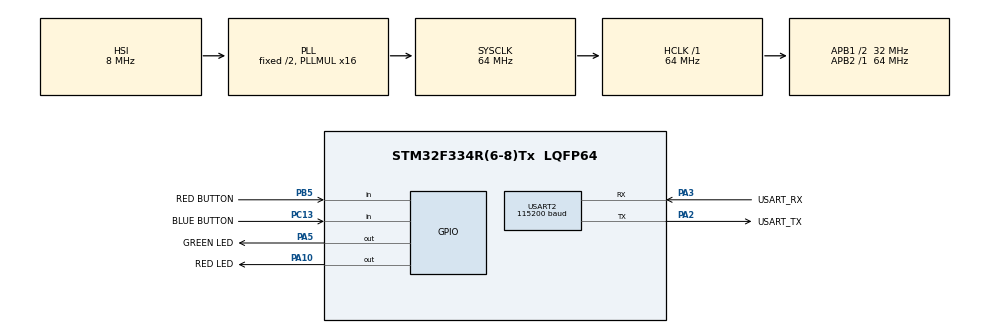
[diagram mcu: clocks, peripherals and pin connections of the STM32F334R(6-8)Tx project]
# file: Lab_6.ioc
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Mcu.Family=STM32F3
Mcu.Name=STM32F334R(6-8)Tx
Mcu.Package=LQFP64
NVIC.PriorityGroup=NVIC_PRIORITYGROUP_0
PA10.GPIO_Label=RED LED
PA10.GPIO_ModeDefaultOutputPP=GPIO_MODE_OUTPUT_OD
PA10.GPIO_PuPd=GPIO_NOPULL
PA10.Signal=GPIO_Output
PA13.GPIO_Label=TMS
PA13.Mode=Serial_Wire
PA13.Signal=SYS_JTMS-SWDIO
PA14.GPIO_Label=TCK
PA14.Mode=Serial_Wire
PA14.Signal=SYS_JTCK-SWCLK
PA2.GPIO_Label=USART_TX
PA2.Mode=Asynchronous
PA2.Signal=USART2_TX
PA3.GPIO_Label=USART_RX
PA3.Mode=Asynchronous
PA3.Signal=USART2_RX
PA5.GPIO_Label=GREEN LED
PA5.Signal=GPIO_Output
PB3.GPIO_Label=SWO
PB3.Signal=SYS_JTDO-TRACESWO
PB5.GPIO_Label=RED BUTTON
PB5.GPIO_PuPd=GPIO_PULLUP
PB5.Signal=GPIO_Input
PC13.GPIO_Label=BLUE BUTTON
PC13.Signal=GPIO_Input
PC14\ /\ OSC32_IN.Mode=LSE-External-Oscillator
PC14\ /\ OSC32_IN.Signal=RCC_OSC32_IN
PC15\ /\ OSC32_OUT.GPIO_Label=RCC_OSC32_OUT
PC15\ /\ OSC32_OUT.Mode=LSE-External-Oscillator
PC15\ /\ OSC32_OUT.Signal=RCC_OSC32_OUT
PF0\ /\ OSC_IN.Mode=HSE-External-Clock-Source
PF0\ /\ OSC_IN.Signal=RCC_OSC_IN
PF1\ /\ OSC_OUT.Signal=RCC_OSC_OUT
ProjectManager.HeapSize=0x200
ProjectManager.StackSize=0x400
ProjectManager.TargetToolchain=STM32CubeIDE
RCC.AHBFreq_Value=64000000
RCC.APB1CLKDivider=RCC_HCLK_DIV2
RCC.APB1Freq_Value=32000000
RCC.APB1TimFreq_Value=64000000
RCC.APB2Freq_Value=64000000
RCC.APB2TimFreq_Value=64000000
RCC.CortexFreq_Value=64000000
RCC.FLatency-AdvancedSettings=FLASH_LATENCY_2
RCC.HCLKFreq_Value=64000000
RCC.HSE_VALUE=8000000
RCC.HSI_VALUE=8000000
RCC.PLLMUL=RCC_PLL_MUL16
RCC.SYSCLKFreq_VALUE=64000000
RCC.SYSCLKSourceVirtual=RCC_SYSCLKSOURCE_PLLCLK
USART2.BaudRate=115200
USART2.VirtualMode-Asynchronous=VM_ASYNC
board=NUCLEO-F334R8

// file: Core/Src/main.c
/* USER CODE BEGIN Header */
/**
  ******************************************************************************
  * @file           : main.c
  * @brief          : Main program body
  ******************************************************************************
  * @attention
  *
  * Copyright (c) 2025 STMicroelectronics.
  * All rights reserved.
  *
  * This software is licensed under terms that can be found in the LICENSE file
  * in the root directory of this software component.
  * If no LICENSE file comes with this software, it is provided AS-IS.
  *
  ******************************************************************************
  */
/* USER CODE END Header */
#include "main.h"

/* USER CODE BEGIN Includes */
#include "stdio.h"
/* USER CODE END Includes */

UART_HandleTypeDef huart2;

void SystemClock_Config(void);
static void MX_GPIO_Init(void);
static void MX_USART2_UART_Init(void);
/* USER CODE BEGIN PFP */
#define PRINTF_UART2 int __io_putchar(int data)
/* USER CODE END PFP */

int main(void)
{

  /* MCU Configuration--------------------------------------------------------*/

  /* Reset of all peripherals, Initializes the Flash interface and the Systick. */
  HAL_Init();

  /* Configure the system clock */
  SystemClock_Config();

  /* Initialize all configured peripherals */
  MX_GPIO_Init();
  MX_USART2_UART_Init();
  /* USER CODE BEGIN 2 */
  int blue_btn = 0;
  int red_btn = 0;
  /* USER CODE END 2 */

  /* Infinite loop */
  /* USER CODE BEGIN WHILE */
  while (1)
  {
	  blue_btn = HAL_GPIO_ReadPin(GPIOC, GPIO_PIN_13);
	  if (blue_btn == 1) {
	  	printf("Blue button not pressed! \n\r");
	  	printf("Green LED OFF \n\r");
	  	HAL_GPIO_WritePin(GPIOA, GPIO_PIN_5, GPIO_PIN_RESET);
	  } else {
	  	printf("Blue button pressed! \n\r");
	  	printf("Green LED ON \n\r");
	  	HAL_GPIO_WritePin(GPIOA, GPIO_PIN_5, GPIO_PIN_SET);
	  }

	  red_btn = HAL_GPIO_ReadPin(GPIOB, GPIO_PIN_5);
	  if (red_btn == 1) {
	  	 printf("Red button not pressed! \n\r");
	  	 printf("Red LED OFF \n\r");
	  	 HAL_GPIO_WritePin(GPIOA, GPIO_PIN_10, GPIO_PIN_SET);
	  } else {
	  	 printf("Red button pressed! \n\r");
	  	 printf("Red LED ON \n\r");
	  	 HAL_GPIO_WritePin(GPIOA, GPIO_PIN_10, GPIO_PIN_RESET);
	  }
    /* USER CODE END WHILE */

    /* USER CODE BEGIN 3 */
	HAL_Delay(100);
  }
  /* USER CODE END 3 */
}

void SystemClock_Config(void)
{
  RCC_OscInitTypeDef RCC_OscInitStruct = {0};
  RCC_ClkInitTypeDef RCC_ClkInitStruct = {0};

  /** Initializes the RCC Oscillators according to the specified parameters
  * in the RCC_OscInitTypeDef structure.
  */
  RCC_OscInitStruct.OscillatorType = RCC_OSCILLATORTYPE_HSI;
  RCC_OscInitStruct.HSIState = RCC_HSI_ON;
  RCC_OscInitStruct.HSICalibrationValue = RCC_HSICALIBRATION_DEFAULT;
  RCC_OscInitStruct.PLL.PLLState = RCC_PLL_ON;
  RCC_OscInitStruct.PLL.PLLSource = RCC_PLLSOURCE_HSI;
  RCC_OscInitStruct.PLL.PLLMUL = RCC_PLL_MUL16;
  if (HAL_RCC_OscConfig(&RCC_OscInitStruct) != HAL_OK)
  {
    Error_Handler();
  }

  /** Initializes the CPU, AHB and APB buses clocks
  */
  RCC_ClkInitStruct.ClockType = RCC_CLOCKTYPE_HCLK|RCC_CLOCKTYPE_SYSCLK
                              |RCC_CLOCKTYPE_PCLK1|RCC_CLOCKTYPE_PCLK2;
  RCC_ClkInitStruct.SYSCLKSource = RCC_SYSCLKSOURCE_PLLCLK;
  RCC_ClkInitStruct.AHBCLKDivider = RCC_SYSCLK_DIV1;
  RCC_ClkInitStruct.APB1CLKDivider = RCC_HCLK_DIV2;
  RCC_ClkInitStruct.APB2CLKDivider = RCC_HCLK_DIV1;

  if (HAL_RCC_ClockConfig(&RCC_ClkInitStruct, FLASH_LATENCY_2) != HAL_OK)
  {
    Error_Handler();
  }
}

static void MX_USART2_UART_Init(void)
{

  huart2.Instance = USART2;
  huart2.Init.BaudRate = 115200;
  huart2.Init.WordLength = UART_WORDLENGTH_8B;
  huart2.Init.StopBits = UART_STOPBITS_1;
  huart2.Init.Parity = UART_PARITY_NONE;
  huart2.Init.Mode = UART_MODE_TX_RX;
  huart2.Init.HwFlowCtl = UART_HWCONTROL_NONE;
  huart2.Init.OverSampling = UART_OVERSAMPLING_16;
  huart2.Init.OneBitSampling = UART_ONE_BIT_SAMPLE_DISABLE;
  huart2.AdvancedInit.AdvFeatureInit = UART_ADVFEATURE_NO_INIT;
  if (HAL_UART_Init(&huart2) != HAL_OK)
  {
    Error_Handler();
  }

}

static void MX_GPIO_Init(void)
{
  GPIO_InitTypeDef GPIO_InitStruct = {0};

  /* GPIO Ports Clock Enable */
  __HAL_RCC_GPIOC_CLK_ENABLE();
  __HAL_RCC_GPIOF_CLK_ENABLE();
  __HAL_RCC_GPIOA_CLK_ENABLE();
  __HAL_RCC_GPIOB_CLK_ENABLE();

  /*Configure GPIO pin Output Level */
  HAL_GPIO_WritePin(GPIOA, GREEN_LED_Pin|RED_LED_Pin, GPIO_PIN_RESET);

  /*Configure GPIO pin : BLUE_BUTTON_Pin */
  GPIO_InitStruct.Pin = BLUE_BUTTON_Pin;
  GPIO_InitStruct.Mode = GPIO_MODE_INPUT;
  GPIO_InitStruct.Pull = GPIO_NOPULL;
  HAL_GPIO_Init(BLUE_BUTTON_GPIO_Port, &GPIO_InitStruct);

  /*Configure GPIO pin : GREEN_LED_Pin */
  GPIO_InitStruct.Pin = GREEN_LED_Pin;
  GPIO_InitStruct.Mode = GPIO_MODE_OUTPUT_PP;
  GPIO_InitStruct.Pull = GPIO_NOPULL;
  GPIO_InitStruct.Speed = GPIO_SPEED_FREQ_LOW;
  HAL_GPIO_Init(GREEN_LED_GPIO_Port, &GPIO_InitStruct);

  /*Configure GPIO pin : RED_LED_Pin */
  GPIO_InitStruct.Pin = RED_LED_Pin;
  GPIO_InitStruct.Mode = GPIO_MODE_OUTPUT_OD;
  GPIO_InitStruct.Pull = GPIO_NOPULL;
  GPIO_InitStruct.Speed = GPIO_SPEED_FREQ_LOW;
  HAL_GPIO_Init(RED_LED_GPIO_Port, &GPIO_InitStruct);

  /*Configure GPIO pin : RED_BUTTON_Pin */
  GPIO_InitStruct.Pin = RED_BUTTON_Pin;
  GPIO_InitStruct.Mode = GPIO_MODE_INPUT;
  GPIO_InitStruct.Pull = GPIO_PULLUP;
  HAL_GPIO_Init(RED_BUTTON_GPIO_Port, &GPIO_InitStruct);

}

/* USER CODE BEGIN 4 */
PRINTF_UART2 {
	HAL_UART_Transmit(&huart2, (uint8_t*) &data, 1, 0xFFFF);
	return data;
}
/* USER CODE END 4 */

void Error_Handler(void)
{
  __disable_irq();
  while (1)
  {
  }
}
